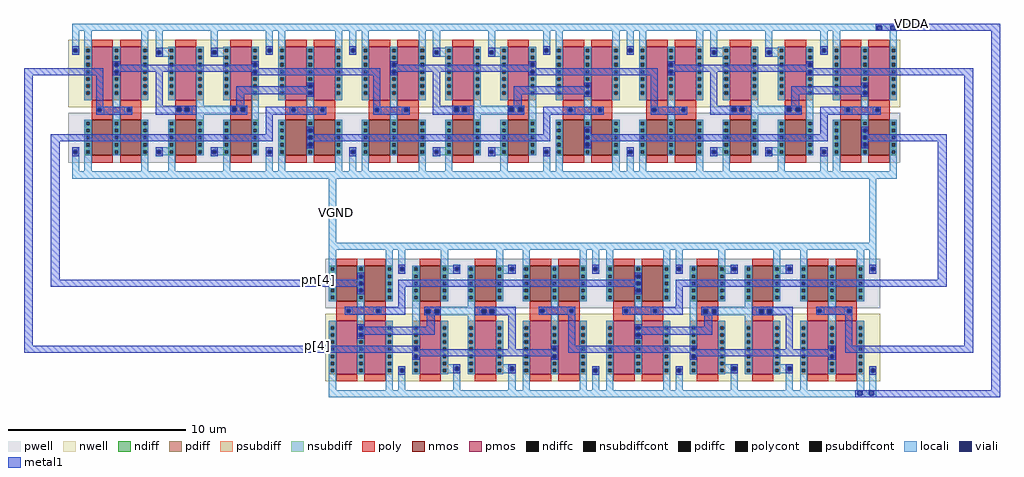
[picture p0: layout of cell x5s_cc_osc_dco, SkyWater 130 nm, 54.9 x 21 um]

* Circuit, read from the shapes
.subckt x5s_cc_osc_dco pn[4] p[4] VDDA VGND
XM1 cc_inv_dco_1/inp p[4] VGND VGND sky130_fd_pr__nfet_01v8 w=2 l=1.2 m=2
XM2 cc_inv_dco_1/inn cc_inv_dco_1/inp VGND VGND sky130_fd_pr__nfet_01v8 w=2 l=1.2
XM3 cc_inv_dco_1/inp cc_inv_dco_1/inn VGND VGND sky130_fd_pr__nfet_01v8 w=2 l=1.2
XM4 cc_inv_dco_1/inn pn[4] VGND VGND sky130_fd_pr__nfet_01v8 w=2 l=1.2 m=2
XM5 pn[4] cc_inv_dco_3/inn VGND VGND sky130_fd_pr__nfet_01v8 w=2 l=1.2 m=2
XM6 cc_inv_dco_2/inp cc_inv_dco_1/inp VGND VGND sky130_fd_pr__nfet_01v8 w=2 l=1.2 m=2
XM7 VGND pn[4] p[4] VGND sky130_fd_pr__nfet_01v8 w=2 l=1.2
XM8 cc_inv_dco_2/inn cc_inv_dco_2/inp VGND VGND sky130_fd_pr__nfet_01v8 w=2 l=1.2
XM9 VGND p[4] pn[4] VGND sky130_fd_pr__nfet_01v8 w=2 l=1.2
XM10 cc_inv_dco_2/inp cc_inv_dco_2/inn VGND VGND sky130_fd_pr__nfet_01v8 w=2 l=1.2
XM11 p[4] cc_inv_dco_3/inp VGND VGND sky130_fd_pr__nfet_01v8 w=2 l=1.2 m=2
XM12 cc_inv_dco_2/inn cc_inv_dco_1/inn VGND VGND sky130_fd_pr__nfet_01v8 w=2 l=1.2 m=2
XM13 cc_inv_dco_3/inn cc_inv_dco_4/inn VGND VGND sky130_fd_pr__nfet_01v8 w=2 l=1.2 m=2
XM14 cc_inv_dco_4/inp cc_inv_dco_2/inp VGND VGND sky130_fd_pr__nfet_01v8 w=2 l=1.2 m=2
XM15 VGND cc_inv_dco_3/inn cc_inv_dco_3/inp VGND sky130_fd_pr__nfet_01v8 w=2 l=1.2
XM16 cc_inv_dco_4/inn cc_inv_dco_4/inp VGND VGND sky130_fd_pr__nfet_01v8 w=2 l=1.2
XM17 VGND cc_inv_dco_3/inp cc_inv_dco_3/inn VGND sky130_fd_pr__nfet_01v8 w=2 l=1.2
XM18 cc_inv_dco_4/inp cc_inv_dco_4/inn VGND VGND sky130_fd_pr__nfet_01v8 w=2 l=1.2
XM19 cc_inv_dco_3/inp cc_inv_dco_4/inp VGND VGND sky130_fd_pr__nfet_01v8 w=2 l=1.2 m=2
XM20 cc_inv_dco_4/inn cc_inv_dco_2/inn VGND VGND sky130_fd_pr__nfet_01v8 w=2 l=1.2 m=2
XM21 cc_inv_dco_1/inp p[4] VDDA VDDA sky130_fd_pr__pfet_01v8 w=3 l=1.2 m=2
XM22 cc_inv_dco_1/inn cc_inv_dco_1/inp VDDA VDDA sky130_fd_pr__pfet_01v8 w=3 l=1.2
XM23 cc_inv_dco_1/inp cc_inv_dco_1/inn VDDA VDDA sky130_fd_pr__pfet_01v8 w=3 l=1.2
XM24 cc_inv_dco_1/inn pn[4] VDDA VDDA sky130_fd_pr__pfet_01v8 w=3 l=1.2 m=2
XM25 pn[4] cc_inv_dco_3/inn VDDA VDDA sky130_fd_pr__pfet_01v8 w=3 l=1.2 m=2
XM26 cc_inv_dco_2/inp cc_inv_dco_1/inp VDDA VDDA sky130_fd_pr__pfet_01v8 w=3 l=1.2 m=2
XM27 VDDA pn[4] p[4] VDDA sky130_fd_pr__pfet_01v8 w=3 l=1.2
XM28 cc_inv_dco_2/inn cc_inv_dco_2/inp VDDA VDDA sky130_fd_pr__pfet_01v8 w=3 l=1.2
XM29 VDDA p[4] pn[4] VDDA sky130_fd_pr__pfet_01v8 w=3 l=1.2
XM30 cc_inv_dco_2/inp cc_inv_dco_2/inn VDDA VDDA sky130_fd_pr__pfet_01v8 w=3 l=1.2
XM31 p[4] cc_inv_dco_3/inp VDDA VDDA sky130_fd_pr__pfet_01v8 w=3 l=1.2 m=2
XM32 cc_inv_dco_2/inn cc_inv_dco_1/inn VDDA VDDA sky130_fd_pr__pfet_01v8 w=3 l=1.2 m=2
XM33 cc_inv_dco_3/inn cc_inv_dco_4/inn VDDA VDDA sky130_fd_pr__pfet_01v8 w=3 l=1.2 m=2
XM34 cc_inv_dco_4/inp cc_inv_dco_2/inp VDDA VDDA sky130_fd_pr__pfet_01v8 w=3 l=1.2 m=2
XM35 VDDA cc_inv_dco_3/inn cc_inv_dco_3/inp VDDA sky130_fd_pr__pfet_01v8 w=3 l=1.2
XM36 cc_inv_dco_4/inn cc_inv_dco_4/inp VDDA VDDA sky130_fd_pr__pfet_01v8 w=3 l=1.2
XM37 VDDA cc_inv_dco_3/inp cc_inv_dco_3/inn VDDA sky130_fd_pr__pfet_01v8 w=3 l=1.2
XM38 cc_inv_dco_4/inp cc_inv_dco_4/inn VDDA VDDA sky130_fd_pr__pfet_01v8 w=3 l=1.2
XM39 cc_inv_dco_3/inp cc_inv_dco_4/inp VDDA VDDA sky130_fd_pr__pfet_01v8 w=3 l=1.2 m=2
XM40 cc_inv_dco_4/inn cc_inv_dco_2/inn VDDA VDDA sky130_fd_pr__pfet_01v8 w=3 l=1.2 m=2
.ends

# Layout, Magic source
magic
tech sky130A
<< locali >>
rect 1459 920 1604 960
rect 3036 920 3197 960
rect 4540 950 4580 960
rect 4540 925 4550 950
rect 4575 925 4580 950
rect 4540 920 4580 925
rect 1500 120 1635 130
rect 1465 90 1635 120
rect 3060 90 3215 130
rect 1465 -330 1505 90
rect 2920 -310 3145 -270
rect 4505 -330 4545 110
rect 2922 -1140 3058 -1100
rect 4505 -1105 4545 -1100
rect 4530 -1130 4545 -1105
rect 4505 -1140 4545 -1130
<< viali >>
rect 4550 925 4575 950
rect 4625 925 4650 950
rect 4440 -1130 4465 -1105
rect 4505 -1130 4530 -1105
<< metal1 >>
rect 4540 950 5240 960
rect 4540 925 4550 950
rect 4575 925 4625 950
rect 4650 925 5240 950
rect 4540 920 5240 925
rect -250 670 0 710
rect 4680 670 5090 710
rect -250 -850 -200 670
rect -100 300 0 340
rect 4675 300 4940 340
rect -100 -480 -50 300
rect 4890 -480 4940 300
rect -100 -520 1445 -480
rect 4560 -520 4940 -480
rect 5040 -850 5090 670
rect -250 -890 1445 -850
rect 4530 -890 5090 -850
rect 5190 -1100 5240 920
rect 4425 -1105 5240 -1100
rect 4425 -1130 4440 -1105
rect 4465 -1130 4505 -1105
rect 4530 -1130 5240 -1105
rect 4425 -1140 5240 -1130
use cc_inv_dco  cc_inv_dco_0
transform 1 0 0 0 1 90
box 0 0 1560 870
use cc_inv_dco  cc_inv_dco_1
transform 1 0 1560 0 1 90
box 0 0 1560 870
use cc_inv_dco  cc_inv_dco_2
transform 1 0 3120 0 1 90
box 0 0 1560 870
use cc_inv_dco  cc_inv_dco_3
transform -1 0 3005 0 -1 -270
box 0 0 1560 870
use cc_inv_dco  cc_inv_dco_4
transform -1 0 4565 0 -1 -270
box 0 0 1560 870
<< labels >>
rlabel metal1 1405 -480 1405 -480 1 pn[4]
port 5 n
rlabel metal1 1400 -850 1400 -850 1 p[4]
port 10 n
rlabel metal1 4740 960 4740 960 1 VDDA
port 11 n
rlabel locali 1505 -100 1505 -100 3 VGND
port 12 e
<< end >>

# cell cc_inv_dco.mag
magic
tech sky130A
<< nwell >>
rect 1350 510 1370 530
<< pmos >>
rect 360 600 395 640
<< pdiffc >>
rect 1040 590 1060 610
rect 1350 510 1370 530
<< poly >>
rect 995 360 1005 410
<< polycont >>
rect 610 375 635 400
rect 655 375 680 400
rect 920 375 945 400
rect 970 375 995 400
<< locali >>
rect 335 830 1120 870
rect 490 735 530 830
rect 800 735 840 830
rect 600 400 695 410
rect 600 375 610 400
rect 635 375 655 400
rect 680 375 695 400
rect 600 360 695 375
rect 760 400 1005 410
rect 760 375 920 400
rect 945 375 970 400
rect 995 375 1005 400
rect 760 360 1005 375
rect 560 40 600 130
rect 870 40 910 130
rect 300 0 1155 40
<< viali >>
rect 260 630 280 650
rect 1040 630 1060 650
rect 260 590 280 610
rect 1040 590 1060 610
rect 1350 510 1370 530
rect 1350 470 1370 490
rect 610 375 635 400
rect 655 375 680 400
rect 920 375 945 400
rect 970 375 995 400
rect 1350 260 1370 280
rect 1350 220 1370 240
rect 1350 180 1370 200
<< metal1 >>
rect 250 650 290 660
rect 250 630 260 650
rect 280 640 290 650
rect 1030 650 1070 660
rect 1030 640 1040 650
rect 280 630 1040 640
rect 1060 630 1070 650
rect 250 620 1070 630
rect 0 580 195 620
rect 250 610 1560 620
rect 250 590 260 610
rect 280 600 1040 610
rect 280 590 290 600
rect 250 580 290 590
rect 155 405 195 580
rect 490 410 530 600
rect 1030 590 1040 600
rect 1060 590 1560 610
rect 1030 580 1560 590
rect 1340 530 1380 540
rect 1340 520 1350 530
rect 945 510 1350 520
rect 1370 510 1380 530
rect 945 490 1380 510
rect 945 475 1350 490
rect 945 410 990 475
rect 1340 470 1350 475
rect 1370 470 1380 490
rect 1340 460 1380 470
rect 490 400 720 410
rect 490 375 610 400
rect 635 375 655 400
rect 680 375 720 400
rect 490 360 720 375
rect 910 400 1005 410
rect 910 375 920 400
rect 945 375 970 400
rect 995 375 1005 400
rect 910 360 1005 375
rect 1110 360 1250 405
rect 1110 250 1150 360
rect 0 210 1150 250
rect 1340 280 1380 290
rect 1340 260 1350 280
rect 1370 260 1380 280
rect 1340 250 1380 260
rect 1340 240 1560 250
rect 1340 220 1350 240
rect 1370 220 1560 240
rect 1340 210 1560 220
rect 1340 200 1380 210
rect 1340 180 1350 200
rect 1370 180 1380 200
rect 1340 170 1380 180
use aux_inv_dco  aux_inv_dco_0
transform 1 0 600 0 1 440
box -130 -350 180 340
use aux_inv_dco  aux_inv_dco_1
transform 1 0 910 0 1 440
box -130 -350 180 340
use main_inv_dco  main_inv_dco_0
transform 1 0 130 0 1 440
box -130 -440 340 430
use main_inv_dco  main_inv_dco_1
transform 1 0 1220 0 1 440
box -130 -440 340 430
<< labels >>
rlabel metal1 0 600 0 600 7 inp
port 1 w
rlabel metal1 0 230 0 230 7 inn
port 2 w
rlabel metal1 1560 600 1560 600 3 outp
port 3 e
rlabel metal1 1560 230 1560 230 3 outn
port 4 e
rlabel locali 490 870 490 870 1 VDDA
port 5 n
rlabel locali 485 0 485 0 5 VGND
port 6 s
<< end >>

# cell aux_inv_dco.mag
magic
tech sky130A
<< nwell >>
rect -130 -40 180 340
<< pwell >>
rect -130 -350 180 -70
<< nmos >>
rect 0 -310 120 -110
<< pmos >>
rect 0 0 120 300
<< ndiff >>
rect -40 -120 0 -110
rect -40 -140 -30 -120
rect -10 -140 0 -120
rect -40 -160 0 -140
rect -40 -180 -30 -160
rect -10 -180 0 -160
rect -40 -200 0 -180
rect -40 -220 -30 -200
rect -10 -220 0 -200
rect -40 -240 0 -220
rect -40 -260 -30 -240
rect -10 -260 0 -240
rect -40 -280 0 -260
rect -40 -300 -30 -280
rect -10 -300 0 -280
rect -40 -310 0 -300
rect 120 -120 160 -110
rect 120 -140 130 -120
rect 150 -140 160 -120
rect 120 -160 160 -140
rect 120 -180 130 -160
rect 150 -180 160 -160
rect 120 -200 160 -180
rect 120 -220 130 -200
rect 150 -220 160 -200
rect 120 -240 160 -220
rect 120 -260 130 -240
rect 150 -260 160 -240
rect 120 -280 160 -260
rect 120 -300 130 -280
rect 150 -300 160 -280
rect 120 -310 160 -300
<< pdiff >>
rect -40 290 0 300
rect -40 270 -30 290
rect -10 270 0 290
rect -40 250 0 270
rect -40 230 -30 250
rect -10 230 0 250
rect -40 210 0 230
rect -40 190 -30 210
rect -10 190 0 210
rect -40 170 0 190
rect -40 150 -30 170
rect -10 150 0 170
rect -40 130 0 150
rect -40 110 -30 130
rect -10 110 0 130
rect -40 90 0 110
rect -40 70 -30 90
rect -10 70 0 90
rect -40 50 0 70
rect -40 30 -30 50
rect -10 30 0 50
rect -40 0 0 30
rect 120 290 160 300
rect 120 270 130 290
rect 150 270 160 290
rect 120 250 160 270
rect 120 230 130 250
rect 150 230 160 250
rect 120 210 160 230
rect 120 190 130 210
rect 150 190 160 210
rect 120 170 160 190
rect 120 150 130 170
rect 150 150 160 170
rect 120 130 160 150
rect 120 110 130 130
rect 150 110 160 130
rect 120 90 160 110
rect 120 70 130 90
rect 150 70 160 90
rect 120 50 160 70
rect 120 30 130 50
rect 150 30 160 50
rect 120 0 160 30
<< ndiffc >>
rect -30 -140 -10 -120
rect -30 -180 -10 -160
rect -30 -220 -10 -200
rect -30 -260 -10 -240
rect -30 -300 -10 -280
rect 130 -140 150 -120
rect 130 -180 150 -160
rect 130 -220 150 -200
rect 130 -260 150 -240
rect 130 -300 150 -280
<< pdiffc >>
rect -30 270 -10 290
rect -30 230 -10 250
rect -30 190 -10 210
rect -30 150 -10 170
rect -30 110 -10 130
rect -30 70 -10 90
rect -30 30 -10 50
rect 130 270 150 290
rect 130 230 150 250
rect 130 190 150 210
rect 130 150 150 170
rect 130 110 150 130
rect 130 70 150 90
rect 130 30 150 50
<< psubdiff >>
rect -110 -280 -70 -265
rect -110 -300 -100 -280
rect -80 -300 -70 -280
rect -110 -315 -70 -300
<< nsubdiff >>
rect -110 280 -70 295
rect -110 260 -100 280
rect -80 260 -70 280
rect -110 245 -70 260
<< psubdiffcont >>
rect -100 -300 -80 -280
<< nsubdiffcont >>
rect -100 260 -80 280
<< poly >>
rect 0 300 120 340
rect 0 -110 120 0
rect 0 -350 120 -310
<< locali >>
rect -40 295 0 300
rect -110 290 0 295
rect -110 280 -30 290
rect -110 260 -100 280
rect -80 270 -30 280
rect -10 270 0 290
rect -80 260 0 270
rect -110 250 0 260
rect -110 245 -30 250
rect -40 230 -30 245
rect -10 230 0 250
rect -40 210 0 230
rect -40 190 -30 210
rect -10 190 0 210
rect -40 170 0 190
rect -40 150 -30 170
rect -10 150 0 170
rect -40 130 0 150
rect -40 110 -30 130
rect -10 110 0 130
rect -40 90 0 110
rect -40 70 -30 90
rect -10 70 0 90
rect -40 50 0 70
rect -40 30 -30 50
rect -10 30 0 50
rect -40 0 0 30
rect 120 290 160 300
rect 120 270 130 290
rect 150 270 160 290
rect 120 250 160 270
rect 120 230 130 250
rect 150 230 160 250
rect 120 210 160 230
rect 120 190 130 210
rect 150 190 160 210
rect 120 170 160 190
rect 120 150 130 170
rect 150 150 160 170
rect 120 130 160 150
rect 120 110 130 130
rect 150 110 160 130
rect 120 90 160 110
rect 120 70 130 90
rect 150 70 160 90
rect 120 50 160 70
rect 120 30 130 50
rect 150 30 160 50
rect -40 -120 0 -110
rect -40 -140 -30 -120
rect -10 -140 0 -120
rect -40 -160 0 -140
rect -40 -180 -30 -160
rect -10 -180 0 -160
rect -40 -200 0 -180
rect -40 -220 -30 -200
rect -10 -220 0 -200
rect -40 -240 0 -220
rect -40 -260 -30 -240
rect -10 -260 0 -240
rect -40 -265 0 -260
rect -110 -280 0 -265
rect -110 -300 -100 -280
rect -80 -300 -30 -280
rect -10 -300 0 -280
rect -110 -310 0 -300
rect 120 -120 160 30
rect 120 -140 130 -120
rect 150 -140 160 -120
rect 120 -160 160 -140
rect 120 -180 130 -160
rect 150 -180 160 -160
rect 120 -200 160 -180
rect 120 -220 130 -200
rect 150 -220 160 -200
rect 120 -240 160 -220
rect 120 -260 130 -240
rect 150 -260 160 -240
rect 120 -280 160 -260
rect 120 -300 130 -280
rect 150 -300 160 -280
rect 120 -310 160 -300
rect -110 -315 -70 -310
<< viali >>
rect -100 260 -80 280
rect -100 -300 -80 -280
<< metal1 >>
rect -110 280 -70 295
rect -110 260 -100 280
rect -80 260 -70 280
rect -110 245 -70 260
rect -110 -280 -70 -265
rect -110 -300 -100 -280
rect -80 -300 -70 -280
rect -110 -315 -70 -300
<< labels >>
rlabel poly 0 -55 0 -55 7 A
port 1 w
rlabel locali -20 300 -20 300 1 VDDA
port 3 n
rlabel locali -20 -310 -20 -310 5 VGND
port 4 s
rlabel locali 160 -55 160 -55 3 Y
port 2 e
<< end >>

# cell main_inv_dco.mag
magic
tech sky130A
<< nwell >>
rect -130 -40 340 340
<< pwell >>
rect -130 -80 100 -70
rect 120 -80 340 -70
rect -130 -350 340 -80
<< nmos >>
rect 0 -310 120 -110
rect 160 -310 280 -110
<< pmos >>
rect 0 0 120 300
rect 160 0 280 300
<< ndiff >>
rect -40 -120 0 -110
rect -40 -140 -30 -120
rect -10 -140 0 -120
rect -40 -160 0 -140
rect -40 -180 -30 -160
rect -10 -180 0 -160
rect -40 -200 0 -180
rect -40 -220 -30 -200
rect -10 -220 0 -200
rect -40 -240 0 -220
rect -40 -260 -30 -240
rect -10 -260 0 -240
rect -40 -280 0 -260
rect -40 -300 -30 -280
rect -10 -300 0 -280
rect -40 -310 0 -300
rect 120 -120 160 -110
rect 120 -140 130 -120
rect 150 -140 160 -120
rect 120 -160 160 -140
rect 120 -180 130 -160
rect 150 -180 160 -160
rect 120 -200 160 -180
rect 120 -220 130 -200
rect 150 -220 160 -200
rect 120 -240 160 -220
rect 120 -260 130 -240
rect 150 -260 160 -240
rect 120 -280 160 -260
rect 120 -300 130 -280
rect 150 -300 160 -280
rect 120 -310 160 -300
rect 280 -120 320 -110
rect 280 -140 290 -120
rect 310 -140 320 -120
rect 280 -160 320 -140
rect 280 -180 290 -160
rect 310 -180 320 -160
rect 280 -200 320 -180
rect 280 -220 290 -200
rect 310 -220 320 -200
rect 280 -240 320 -220
rect 280 -260 290 -240
rect 310 -260 320 -240
rect 280 -280 320 -260
rect 280 -300 290 -280
rect 310 -300 320 -280
rect 280 -310 320 -300
<< pdiff >>
rect -40 290 0 300
rect -40 270 -30 290
rect -10 270 0 290
rect -40 250 0 270
rect -40 230 -30 250
rect -10 230 0 250
rect -40 210 0 230
rect -40 190 -30 210
rect -10 190 0 210
rect -40 170 0 190
rect -40 150 -30 170
rect -10 150 0 170
rect -40 130 0 150
rect -40 110 -30 130
rect -10 110 0 130
rect -40 90 0 110
rect -40 70 -30 90
rect -10 70 0 90
rect -40 50 0 70
rect -40 30 -30 50
rect -10 30 0 50
rect -40 0 0 30
rect 120 290 160 300
rect 120 270 130 290
rect 150 270 160 290
rect 120 250 160 270
rect 120 230 130 250
rect 150 230 160 250
rect 120 210 160 230
rect 120 190 130 210
rect 150 190 160 210
rect 120 170 160 190
rect 120 150 130 170
rect 150 150 160 170
rect 120 130 160 150
rect 120 110 130 130
rect 150 110 160 130
rect 120 90 160 110
rect 120 70 130 90
rect 150 70 160 90
rect 120 50 160 70
rect 120 30 130 50
rect 150 30 160 50
rect 120 0 160 30
rect 280 290 320 300
rect 280 270 290 290
rect 310 270 320 290
rect 280 250 320 270
rect 280 230 290 250
rect 310 230 320 250
rect 280 210 320 230
rect 280 190 290 210
rect 310 190 320 210
rect 280 170 320 190
rect 280 150 290 170
rect 310 150 320 170
rect 280 130 320 150
rect 280 110 290 130
rect 310 110 320 130
rect 280 90 320 110
rect 280 70 290 90
rect 310 70 320 90
rect 280 50 320 70
rect 280 30 290 50
rect 310 30 320 50
rect 280 0 320 30
<< ndiffc >>
rect -30 -140 -10 -120
rect -30 -180 -10 -160
rect -30 -220 -10 -200
rect -30 -260 -10 -240
rect -30 -300 -10 -280
rect 130 -140 150 -120
rect 130 -180 150 -160
rect 130 -220 150 -200
rect 130 -260 150 -240
rect 130 -300 150 -280
rect 290 -140 310 -120
rect 290 -180 310 -160
rect 290 -220 310 -200
rect 290 -260 310 -240
rect 290 -300 310 -280
<< pdiffc >>
rect -30 270 -10 290
rect -30 230 -10 250
rect -30 190 -10 210
rect -30 150 -10 170
rect -30 110 -10 130
rect -30 70 -10 90
rect -30 30 -10 50
rect 130 270 150 290
rect 130 230 150 250
rect 130 190 150 210
rect 130 150 150 170
rect 130 110 150 130
rect 130 70 150 90
rect 130 30 150 50
rect 290 270 310 290
rect 290 230 310 250
rect 290 190 310 210
rect 290 150 310 170
rect 290 110 310 130
rect 290 70 310 90
rect 290 30 310 50
<< psubdiff >>
rect -110 -280 -70 -265
rect -110 -300 -100 -280
rect -80 -300 -70 -280
rect -110 -315 -70 -300
<< nsubdiff >>
rect -110 290 -70 305
rect -110 270 -100 290
rect -80 270 -70 290
rect -110 255 -70 270
<< psubdiffcont >>
rect -100 -300 -80 -280
<< nsubdiffcont >>
rect -100 270 -80 290
<< poly >>
rect 0 300 120 340
rect 160 300 280 340
rect 0 -40 120 0
rect 160 -40 280 0
rect 0 -45 280 -40
rect 0 -65 35 -45
rect 55 -65 200 -45
rect 220 -65 280 -45
rect 0 -70 280 -65
rect 0 -110 120 -70
rect 160 -110 280 -70
rect 0 -350 120 -310
rect 160 -350 280 -310
<< polycont >>
rect 35 -65 55 -45
rect 200 -65 220 -45
<< locali >>
rect -110 390 320 430
rect -110 290 -70 390
rect -110 270 -100 290
rect -80 270 -70 290
rect -110 255 -70 270
rect -40 290 0 390
rect -40 270 -30 290
rect -10 270 0 290
rect -40 250 0 270
rect -40 230 -30 250
rect -10 230 0 250
rect -40 210 0 230
rect -40 190 -30 210
rect -10 190 0 210
rect -40 170 0 190
rect -40 150 -30 170
rect -10 150 0 170
rect -40 130 0 150
rect -40 110 -30 130
rect -10 110 0 130
rect -40 90 0 110
rect -40 70 -30 90
rect -10 70 0 90
rect -40 50 0 70
rect -40 30 -30 50
rect -10 30 0 50
rect -40 0 0 30
rect 120 290 160 300
rect 120 270 130 290
rect 150 270 160 290
rect 120 250 160 270
rect 120 230 130 250
rect 150 230 160 250
rect 120 210 160 230
rect 120 190 130 210
rect 150 190 160 210
rect 120 170 160 190
rect 120 150 130 170
rect 150 150 160 170
rect 120 130 160 150
rect 120 110 130 130
rect 150 110 160 130
rect 120 90 160 110
rect 120 70 130 90
rect 150 70 160 90
rect 120 50 160 70
rect 120 30 130 50
rect 150 30 160 50
rect 25 -45 70 -35
rect 25 -65 35 -45
rect 55 -65 70 -45
rect 25 -80 70 -65
rect -40 -120 0 -110
rect -40 -140 -30 -120
rect -10 -140 0 -120
rect -40 -160 0 -140
rect -40 -180 -30 -160
rect -10 -180 0 -160
rect -40 -200 0 -180
rect -40 -220 -30 -200
rect -10 -220 0 -200
rect -40 -240 0 -220
rect -40 -260 -30 -240
rect -10 -260 0 -240
rect -110 -280 -70 -265
rect -110 -300 -100 -280
rect -80 -300 -70 -280
rect -110 -400 -70 -300
rect -40 -280 0 -260
rect -40 -300 -30 -280
rect -10 -300 0 -280
rect -40 -400 0 -300
rect 120 -120 160 30
rect 280 290 320 390
rect 280 270 290 290
rect 310 270 320 290
rect 280 250 320 270
rect 280 230 290 250
rect 310 230 320 250
rect 280 210 320 230
rect 280 190 290 210
rect 310 190 320 210
rect 280 170 320 190
rect 280 150 290 170
rect 310 150 320 170
rect 280 130 320 150
rect 280 110 290 130
rect 310 110 320 130
rect 280 90 320 110
rect 280 70 290 90
rect 310 70 320 90
rect 280 50 320 70
rect 280 30 290 50
rect 310 30 320 50
rect 280 0 320 30
rect 185 -45 230 -35
rect 185 -65 200 -45
rect 220 -65 230 -45
rect 185 -80 230 -65
rect 120 -140 130 -120
rect 150 -140 160 -120
rect 120 -160 160 -140
rect 120 -180 130 -160
rect 150 -180 160 -160
rect 120 -200 160 -180
rect 120 -220 130 -200
rect 150 -220 160 -200
rect 120 -240 160 -220
rect 120 -260 130 -240
rect 150 -260 160 -240
rect 120 -280 160 -260
rect 120 -300 130 -280
rect 150 -300 160 -280
rect 120 -310 160 -300
rect 280 -120 320 -110
rect 280 -140 290 -120
rect 310 -140 320 -120
rect 280 -160 320 -140
rect 280 -180 290 -160
rect 310 -180 320 -160
rect 280 -200 320 -180
rect 280 -220 290 -200
rect 310 -220 320 -200
rect 280 -240 320 -220
rect 280 -260 290 -240
rect 310 -260 320 -240
rect 280 -280 320 -260
rect 280 -300 290 -280
rect 310 -300 320 -280
rect 280 -400 320 -300
rect -110 -440 320 -400
<< viali >>
rect -100 270 -80 290
rect 35 -65 55 -45
rect -100 -300 -80 -280
rect 200 -65 220 -45
<< metal1 >>
rect -110 290 -70 305
rect -110 270 -100 290
rect -80 270 -70 290
rect -110 255 -70 270
rect 25 -45 230 -35
rect 25 -65 35 -45
rect 55 -65 200 -45
rect 220 -65 230 -45
rect 25 -80 230 -65
rect -110 -280 -70 -265
rect -110 -300 -100 -280
rect -80 -300 -70 -280
rect -110 -315 -70 -300
<< labels >>
rlabel metal1 25 -55 25 -55 7 A
port 1 w
rlabel locali -70 430 -70 430 1 VDDA
port 3 n
rlabel locali -70 -440 -70 -440 5 VGND
port 4 s
rlabel locali 140 -310 140 -310 5 Y
port 2 s
<< end >>
